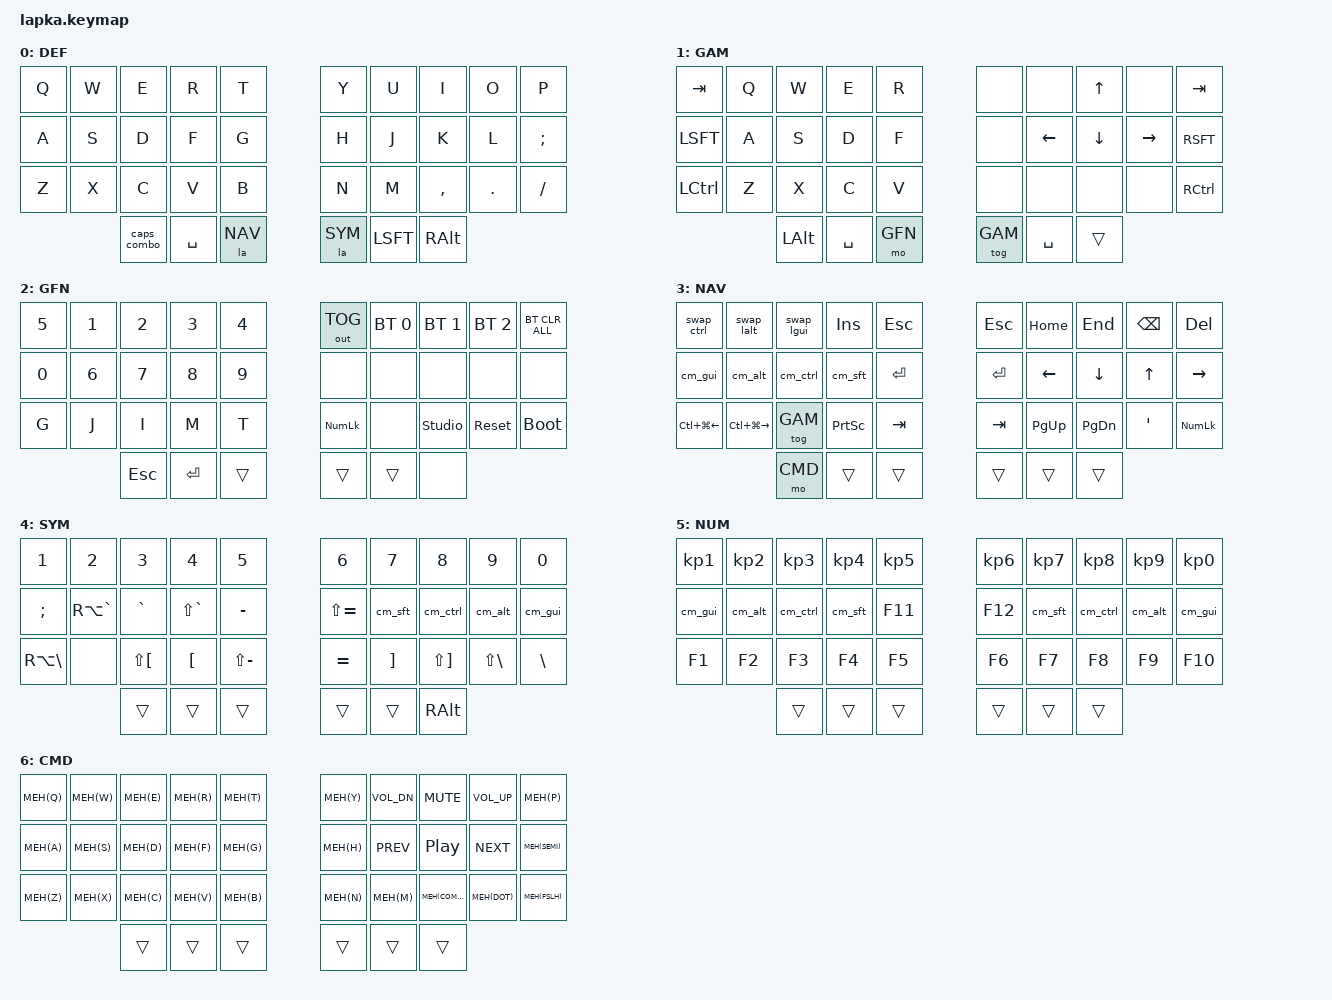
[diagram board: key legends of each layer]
#include <behaviors.dtsi>
#include <dt-bindings/zmk/outputs.h>
#include <dt-bindings/zmk/keys.h>
#include <dt-bindings/zmk/bt.h>
#include <dt-bindings/zmk/ext_power.h>

#include <dt-bindings/zmk/ext_power.h>

#define _ &kp
#define ___ &none
#define ______ &trans

#define DEF 0
#define GAM 1
#define GFN 2
#define NAV 3
#define SYM 4
#define NUM 5
#define CMD 6

#define MEH(key) LS(LC(LA(key)))

// Universal Layout bindings

#define SQuot     GRAVE
#define DQuot     LS(GRAVE)
#define Grave     RA(GRAVE)
#define Pipe      LS(BSLH)
#define Backslash RA(BSLH)
#define Nbsp      RA(SPACE)
#define Comma     LBKT
#define Semicolon LS(LBKT)
#define Dot       RBKT
#define Colon     LS(RBKT)
#define Minus     MINUS
#define Under     LS(MINUS)
#define Equal     EQUAL
#define Plus      LS(EQUAL)
#define Slash     BSLH
#define LBracket  DOT
#define LBrace    LS(DOT)
#define RBracket  FSLH
#define RBrace    LS(FSLH)
#define Ampersand COMMA
#define Tilde     SEMI

// Media keys rebinds
#define VOL_U C_VOL_UP
#define VOL_D C_VOL_DN
#define T_PRV C_PREV
#define T_NXT C_NEXT
#define T_PP  C_PP

// Window Management mapping
#define NextSpace LC(LG(RIGHT))
#define PrevSpace LC(LG(LEFT))

// Bluetooth profiles mapping
#define BT_1      &bt BT_SEL 0
#define BT_2      &bt BT_SEL 1
#define BT_3      &bt BT_SEL 2
#define BT_Clear  &bt BT_CLR_ALL
#define BT_Toggle &out OUT_TOG

// custom implementation of modified callum-mods,
// which can be released on second keypress
// and also work with swapper and/or tabber

#define PARAM_1 0
#define PARAM_2 0

#define MACRO(NAME, COMPATIBLE, BINDING_CELLS, BINDINGS) \
    NAME: NAME { \
        compatible = COMPATIBLE; \
        #binding-cells = <BINDING_CELLS>; \
        wait-ms = <0>; \
        tap-ms = <0>; \
        bindings = \
            <BINDINGS>; \
    };

#define MACRO_NO_PARAM(NAME, BINDINGS)  MACRO(NAME, "zmk,behavior-macro"          , 0, BINDINGS)
#define MACRO_ONE_PARAM(NAME, BINDINGS) MACRO(NAME, "zmk,behavior-macro-one-param", 1, BINDINGS)
#define MACRO_TWO_PARAM(NAME, BINDINGS) MACRO(NAME, "zmk,behavior-macro-two-param", 2, BINDINGS)

#define MAX_TIMER __UINT32_MAX__ // around 50 days

#define STICKY_FOREVER(NAME, BIND) \
    NAME: NAME { \
        compatible = "zmk,behavior-sticky-key"; \
        #binding-cells = <1>; \
        bindings = <BIND>; \
        release-after-ms = <MAX_TIMER>; \
        ignore-modifiers; \
    };

#define MODMORPH(NAME, NORMAL, MORPHED, MODS, KEEP_MODS) \
    NAME: NAME { \
        compatible = "zmk,behavior-mod-morph"; \
        #binding-cells = <0>; \
        bindings = <NORMAL>, <MORPHED>; \
        mods = <(MODS)>; \
        keep-mods = <(KEEP_MODS)>; \
    };

&sk {
        release-after-ms = <60000>;
};

/ {
    behaviors {
        MACRO_ONE_PARAM(
            m_release_key_twice,
            &macro_release
                &macro_param_1to1 &kp PARAM_1
                &macro_param_1to1 &kp PARAM_1
        )

        MACRO_ONE_PARAM(
            m_press_key_twice,
            &macro_press
                &macro_param_1to1 &kp PARAM_1
                &macro_param_1to1 &kp PARAM_1
            &macro_pause_for_release
            &macro_tap
                &macro_param_1to1
                &m_release_key_twice PARAM_1
        )

        STICKY_FOREVER(sticky_forever, &m_press_key_twice)

        MODMORPH(
            cm_gui,
            &sticky_forever LGUI,
            &m_release_key_twice LGUI,
            MOD_LGUI,
            MOD_LGUI
        )

        MODMORPH(
            cm_alt,
            &sticky_forever LALT,
            &m_release_key_twice LALT,
            MOD_LALT,
            MOD_LALT
        )

        MODMORPH(
            cm_ctrl,
            &sticky_forever LCTRL,
            &m_release_key_twice LCTRL,
            MOD_LCTL,
            MOD_LCTL
        )

        MODMORPH(
            cm_sft,
            &sticky_forever LSHIFT,
            &m_release_key_twice LSHIFT,
            MOD_LSFT,
            MOD_LSFT
        )

        MACRO_TWO_PARAM(
            m_hold_mod_press_key,
            &macro_press
                &macro_param_1to1 &kp PARAM_1
            &macro_tap
                &macro_param_2to1 &kp PARAM_2
        )

        MODMORPH(
            swap_ctrl,
            &m_hold_mod_press_key LCTRL TAB,
            &kp TAB,
            MOD_LCTL,
            MOD_LCTL
        )

        MODMORPH(
            swap_lalt,
            &m_hold_mod_press_key LALT TAB,
            &kp TAB,
            MOD_LALT,
            MOD_LALT
        )

        MODMORPH(
            swap_lgui,
            &m_hold_mod_press_key LGUI TAB,
            &kp TAB,
            MOD_LGUI,
            MOD_LGUI
        )

        MACRO_ONE_PARAM(
            la,
            &macro_tap
                &kp 0 // do nothing, fire all sticky keys
            &macro_press
                &macro_param_1to1 &mo PARAM_1
            &macro_pause_for_release
            &macro_release
                &macro_param_1to1 &mo PARAM_1
                &kp LSHFT
                &kp LCTRL
                &kp LALT
                &kp LGUI
        )

        // ---- Добавленный макрос для Caps Lock ----
        caps_combo: caps_combo {
            compatible = "zmk,behavior-macro";
            #binding-cells = <0>;
            wait-ms = <0>;
            tap-ms = <0>;
            bindings = <
                &macro_press &kp LCTRL &kp LSHIFT &kp N3
                &macro_pause_for_release
                &macro_release &kp LCTRL &kp LSHIFT &kp N3
                &macro_tap &kp CAPS
            >;
        };
    };

    conditional_layers {
        compatible = "zmk,conditional-layers";
        tri_layer {
            if-layers  = <NAV SYM>;
            then-layer = <NUM>;
        };
    };
};

/ {
    keymap {
        compatible = "zmk,keymap";

        def_layer {
            label = "DEF";
            bindings = <
_ Q         _ W         _ E         _ R         _ T         _ Y         _ U         _ I         _ O         _ P
_ A         _ S         _ D         _ F         _ G         _ H         _ J         _ K         _ L         _ Tilde
_ Z         _ X         _ C         _ V         _ B         _ N         _ M         _ Ampersand _ LBracket  _ RBracket
                        &caps_combo _ SPACE     &la NAV     &la SYM     _ LSFT      _ RALT
            >;
        };

        gam_layer {
            label = "GAM";
            bindings = <
_ TAB       _ Q         _ W         _ E         _ R         ___         ___         _ UP        ___         _ TAB
_ LSFT      _ A         _ S         _ D         _ F         ___         _ LEFT      _ DOWN      _ RIGHT     _ RSFT
_ LCTRL     _ Z         _ X         _ C         _ V         ___         ___         ___         ___         _ RCTRL
                        _ LALT      _ SPACE     &mo GFN     &tog GAM    _ SPACE     ______
            >;
        };

        gfn_layer {
            label = "GFN";
            bindings = <
_ N5        _ N1        _ N2        _ N3        _ N4        BT_Toggle   BT_1        BT_2           BT_3        BT_Clear
_ N0        _ N6        _ N7        _ N8        _ N9        ___         ___         ___            ___         ___
_ G         _ J         _ I         _ M         _ T         _ KP_NUM    ___         &studio_unlock &sys_reset  &bootloader
                        _ ESC       _ RET       ______      ______      ______      ___
            >;
        };

        nav_layer {
            label = "NAV";
            bindings = <
&swap_ctrl  &swap_lalt &swap_lgui  &kp INS    _ ESC       _ ESC       _ HOME      _ END       _ BSPC      _ DEL
&cm_gui     &cm_alt     &cm_ctrl    &cm_sft     _ RET       _ RET       _ LEFT      _ DOWN      _ UP        _ RIGHT
_ PrevSpace _ NextSpace &tog GAM    _ PSCRN     _ TAB       _ TAB       _ PG_UP     _ PG_DN     _ APOS      _ KP_NUM
                        &mo CMD     ______      ______      ______      ______      ______
            >;
        };

        sym_layer {
            label = "SYM";
            bindings = <
_ N1        _ N2        _ N3        _ N4        _ N5        _ N6        _ N7        _ N8        _ N9        _ N0
_ Tilde     _ Grave     _ SQuot     _ DQuot     _ Minus     _ Plus      &cm_sft     &cm_ctrl    &cm_alt     &cm_gui
_ Backslash ___         _ Semicolon _ Comma     _ Under     _ Equal     _ Dot       _ Colon     _ Pipe      _ Slash
                        ______      ______      ______      ______      ______      _ RALT
            >;
        };

        num_layer {
            label = "NUM";
            bindings = <
_ KP_N1     _ KP_N2     _ KP_N3     _ KP_N4     _ KP_N5     _ KP_N6     _ KP_N7     _ KP_N8     _ KP_N9     _ KP_N0
&cm_gui     &cm_alt     &cm_ctrl    &cm_sft     _ F11       _ F12       &cm_sft     &cm_ctrl    &cm_alt     &cm_gui
_ F1        _ F2        _ F3        _ F4        _ F5        _ F6        _ F7        _ F8        _ F9        _ F10
                        ______      ______      ______      ______      ______      ______
            >;
        };

        cmd_layer {
            label = "CMD";
            bindings = <
_ MEH(Q)    _ MEH(W)    _ MEH(E)    _ MEH(R)    _ MEH(T)    _ MEH(Y)    _ VOL_D     _ C_MUTE     _ VOL_U     _ MEH(P)
_ MEH(A)    _ MEH(S)    _ MEH(D)    _ MEH(F)    _ MEH(G)    _ MEH(H)    _ T_PRV     _ T_PP       _ T_NXT     _ MEH(SEMI)
_ MEH(Z)    _ MEH(X)    _ MEH(C)    _ MEH(V)    _ MEH(B)    _ MEH(N)    _ MEH(M)    _ MEH(COMMA) _ MEH(DOT)  _ MEH(FSLH)
                        ______      ______      ______      ______      ______      ______
            >;
        };
    };
};
